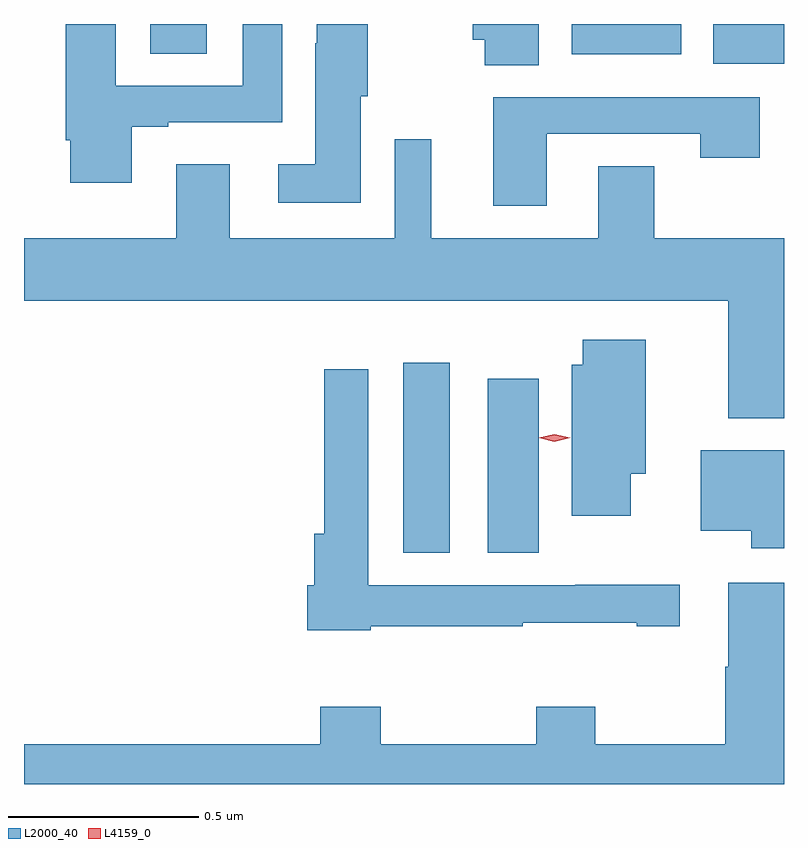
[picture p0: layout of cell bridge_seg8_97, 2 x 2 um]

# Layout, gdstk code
import gdstk
lib = gdstk.Library(unit=1e-6, precision=1e-09)
def R(c, l, rs):  # rectangles x0, y0, x1, y1
    for r in rs: c.add(gdstk.rectangle(r[:2], r[2:], *l))
def P(c, l, *ps):  # polygons
    for p in ps: c.add(gdstk.Polygon(p, *l))
L2000_40 = (2000, 40)
L4159_0 = (4159, 0)

bridge_seg8_97 = lib.new_cell('bridge_seg8_97')
R(bridge_seg8_97, L2000_40, [(765.65,1106.512,765.772,1107.013), (765.872,1106.512,766.006,1106.971), (766.466,1107.8,766.652,1107.904), (766.094,1107.824,766.381,1107.904), (764.984,1107.826,765.133,1107.904)])
P(bridge_seg8_97, L2000_40, [(766.006,1107.904),(765.833,1107.904),(765.833,1107.863),(765.865,1107.863),(765.865,1107.796),(766.006,1107.796)],
  [(764.935,1107.633),(765.031,1107.633),(765.031,1107.645),(765.331,1107.645),(765.331,1107.904),(765.227,1107.904),(765.227,1107.741),(764.893,1107.741),(764.893,1107.904),(764.762,1107.904),(764.762,1107.598),(764.774,1107.598),(764.774,1107.486),(764.935,1107.486)],
  [(765.538,1107.714),(765.556,1107.714),(765.556,1107.904),(765.423,1107.904),(765.423,1107.854),(765.419,1107.854),(765.419,1107.535),(765.321,1107.535),(765.321,1107.434),(765.538,1107.434)],
  [(766.027,1107.615),(766.432,1107.615),(766.432,1107.552),(766.588,1107.552),(766.588,1107.711),(765.887,1107.711),(765.887,1107.426),(766.027,1107.426)],
  [(766.652,1107.34),(766.311,1107.34),(766.311,1107.53),(766.163,1107.53),(766.163,1107.34),(765.724,1107.34),(765.724,1107.601),(765.627,1107.601),(765.627,1107.34),(765.193,1107.34),(765.193,1107.535),(765.053,1107.535),(765.053,1107.34),(764.652,1107.34),(764.652,1107.176),(766.505,1107.176),(766.505,1106.867),(766.652,1106.867)],
  [(766.249,1106.72),(766.288,1106.72),(766.288,1107.073),(766.123,1107.073),(766.123,1107.007),(766.094,1107.007),(766.094,1106.61),(766.249,1106.61)],
  [(765.564,1106.319),(765.965,1106.319),(765.965,1106.329),(766.265,1106.329),(766.265,1106.319),(766.378,1106.319),(766.378,1106.429),(766.102,1106.429),(766.102,1106.427),(765.558,1106.427),(765.558,1106.995),(765.442,1106.995),(765.442,1106.563),(765.416,1106.563),(765.416,1106.427),(765.398,1106.427),(765.398,1106.309),(765.564,1106.309)],
  [(766.652,1106.782),(766.433,1106.782),(766.433,1106.57),(766.566,1106.57),(766.566,1106.524),(766.652,1106.524)],
  [(766.652,1106.434),(766.505,1106.434),(766.505,1106.213),(766.498,1106.213),(766.498,1106.008),(766.155,1106.008),(766.155,1106.107),(766,1106.107),(766,1106.008),(765.591,1106.008),(765.591,1106.107),(765.431,1106.107),(765.431,1106.008),(764.652,1106.008),(764.652,1105.904),(766.652,1105.904)])
P(bridge_seg8_97, L4159_0, [(766.048,1106.805),(766.007,1106.815),(766.007,1106.815),(766.007,1106.815),(766.048,1106.825),(766.089,1106.815),(766.09,1106.815),(766.089,1106.815)])

lib.write_gds('bridge_seg8_97.gds')
